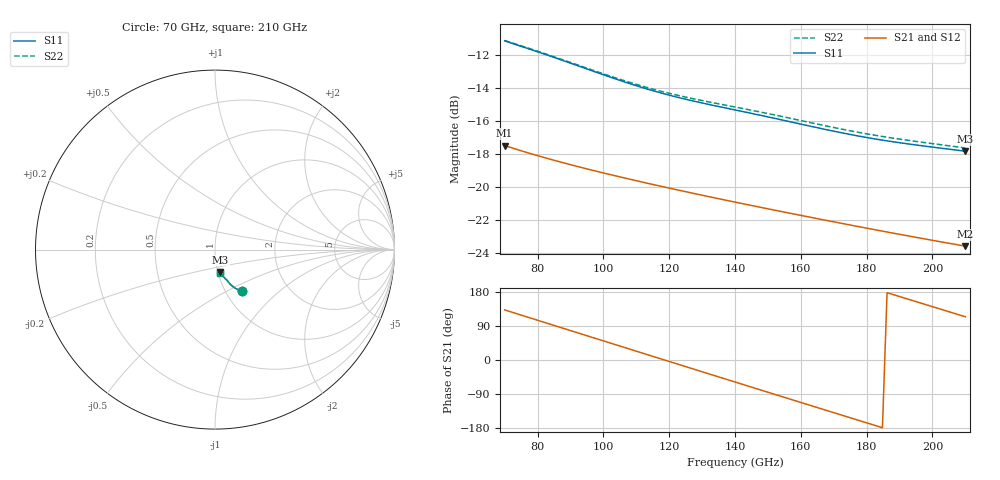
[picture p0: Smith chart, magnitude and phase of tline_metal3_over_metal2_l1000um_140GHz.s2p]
#  GHZ S DB R 50
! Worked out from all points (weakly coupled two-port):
!   101 points, 70 GHz to 210 GHz, reference 50 ohm
!   highest |S21| = -17.50 dB at 70 GHz (marker M1); lowest = -23.6 dB at 210 GHz (marker M2)
!   lowest |S11| = -17.8 dB at 210 GHz (marker M3), VSWR 1.29, Z = 51.4 - j13 ohm
!   |S11| at or under -10 dB: start of sweep to end of sweep
!   |S22| runs from -17.7 to -11.1 dB; largest |S21 - S12| = 9.5e-14
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70  -11.16 -57.3  -17.50 132.2  -17.50 132.2  -11.14 -57.0
75.6  -11.53 -59.0  -17.86 116.9  -17.86 116.9  -11.50 -58.7
81.2  -11.90 -60.7  -18.18 101.7  -18.18 101.7  -11.87 -60.3
86.8  -12.29 -62.3  -18.49 86.4  -18.49 86.4  -12.25 -61.9
93.8  -12.78 -64.1  -18.86 67.4  -18.86 67.4  -12.73 -63.7
100.8  -13.27 -65.6  -19.20 48.3  -19.20 48.3  -13.21 -65.1
106.4  -13.65 -66.6  -19.47 33.1  -19.47 33.1  -13.58 -66.0
112  -14.00 -67.3  -19.73 17.9  -19.73 17.9  -13.91 -66.8
117.6  -14.32 -67.9  -19.98 2.7  -19.98 2.7  -14.22 -67.4
127.4  -14.81 -68.9  -20.40 -23.9  -20.40 -23.9  -14.67 -68.4
134.4  -15.12 -69.7  -20.70 -42.9  -20.70 -42.9  -14.95 -69.3
140  -15.35 -70.5  -20.93 -58.0  -20.93 -58.0  -15.17 -70.2
145.6  -15.58 -71.2  -21.16 -73.2  -21.16 -73.2  -15.39 -71.1
151.2  -15.82 -72.0  -21.39 -88.3  -21.39 -88.3  -15.62 -72.0
156.8  -16.07 -72.7  -21.61 -103.4  -21.61 -103.4  -15.85 -72.8
163.8  -16.37 -73.5  -21.89 -122.3  -21.89 -122.3  -16.15 -73.8
170.8  -16.67 -74.1  -22.16 -141.1  -22.16 -141.1  -16.45 -74.5
176.4  -16.89 -74.4  -22.37 -156.1  -22.37 -156.1  -16.66 -75.0
182  -17.09 -74.7  -22.59 -171.2  -22.59 -171.2  -16.86 -75.5
187.6  -17.26 -75.0  -22.80 173.9  -22.80 173.9  -17.04 -75.9
200.2  -17.60 -75.8  -23.26 140.2  -23.26 140.2  -17.39 -77.0
210  -17.85 -76.6  -23.60 114.0  -23.60 114.0  -17.65 -78.2
